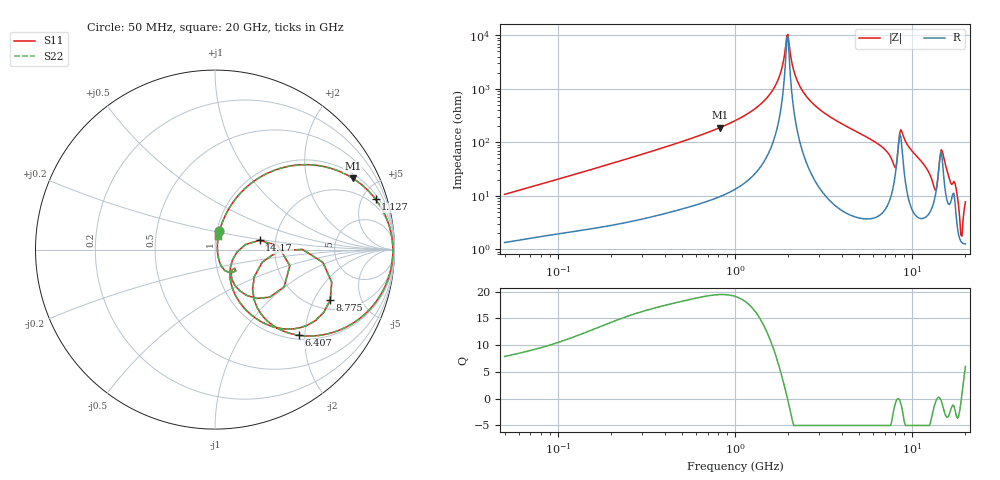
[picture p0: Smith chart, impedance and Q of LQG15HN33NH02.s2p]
!Murata Part Number: LQG15HN33NH02
!These Parameters are Measured in Series Mode Connection
!  o--[Z]--o
!Port1  Port2
!  o-------o
!Freq. Start=50[MHz] Stop=20[GHz], 401[Steps]
# Hz S RI R 50
!Freq.(Hz) S11(Real) S11(Imag) S21(Real) S21(Imag) S12(Real) S12(Imag) S22(Real) S22(Imag)
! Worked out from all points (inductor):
!   401 points, 50 MHz to 20 GHz, reference 50 ohm
!   read as one part in series: L = 32.9 nH near 51.52 MHz
!   highest Q = 19.4 at 823.1 MHz (marker M1), where L = 36.3 nH
!   self-resonance near 1.962 GHz
!   S11 on the Smith chart (normalised r, x): 50 MHz: 1.03, +0.21; 1.127 GHz: 1.34, +6.23; 6.407 GHz: 1.08, -1.87; 8.775 GHz: 2.46, -2.71; 14.17 GHz: 1.65, +0.18; 20 GHz: 1.03, +0.15
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5e7  0.0237 0.1013  0.9763 -0.1013  0.9763 -0.1013  0.0237 0.1013
1.364002e8  0.0873 0.2439  0.9127 -0.2439  0.9127 -0.2439  0.0873 0.2439
3.721004e8  0.3654 0.4533  0.6346 -0.4533  0.6346 -0.4533  0.3654 0.4533
8.230629e8  0.7677 0.3974  0.2323 -0.3974  0.2323 -0.3974  0.7677 0.3974
1e9  0.8513 0.3306  0.1487 -0.3306  0.1487 -0.3306  0.8513 0.3306
1.127304e9  0.8943 0.2813  0.1057 -0.2813  0.1057 -0.2813  0.8943 0.2813
1.639343e9  0.9791 0.1002  0.0209 -0.1002  0.0209 -0.1002  0.9791 0.1002
1.99176e9  0.9911 -0.00354  0.00891 0.00354  0.00891 0.00354  0.9911 -0.00354
2.245319e9  0.987 -0.0687  0.013 0.0687  0.013 0.0687  0.987 -0.0687
2.728004e9  0.9603 -0.1748  0.0397 0.1748  0.0397 0.1748  0.9603 -0.1748
6.406762e9  0.4679 -0.4775  0.5321 0.4775  0.5321 0.4775  0.4679 -0.4775
7.442007e9  0.2777 -0.3841  0.7223 0.3841  0.7223 0.3841  0.2777 -0.3841
8.020766e9  0.2192 -0.1504  0.7808 0.1504  0.7808 0.1504  0.2192 -0.1504
8.389408e9  0.4877 0.000842  0.5123 -0.000842  0.5123 -0.000842  0.4877 0.000842
8.774992e9  0.6421 -0.2808  0.3579 0.2808  0.3579 0.2808  0.6421 -0.2808
9.892087e9  0.3488 -0.4365  0.6512 0.4365  0.6512 0.4365  0.3488 -0.4365
1.334722e10  0.0863 -0.097  0.9137 0.097  0.9137 0.097  0.0863 -0.097
1.417136e10  0.2487 0.052  0.7513 -0.052  0.7513 -0.052  0.2487 0.052
1.504638e10  0.3041 -0.2654  0.6959 0.2654  0.6959 0.2654  0.3041 -0.2654
1.747767e10  0.0877 -0.1317  0.9123 0.1317  0.9123 0.1317  0.0877 -0.1317
1.88369e10  0.0141 -0.0115  0.9859 0.0115  0.9859 0.0115  0.0141 -0.0115
2e10  0.0179 0.0733  0.9821 -0.0733  0.9821 -0.0733  0.0179 0.0733
